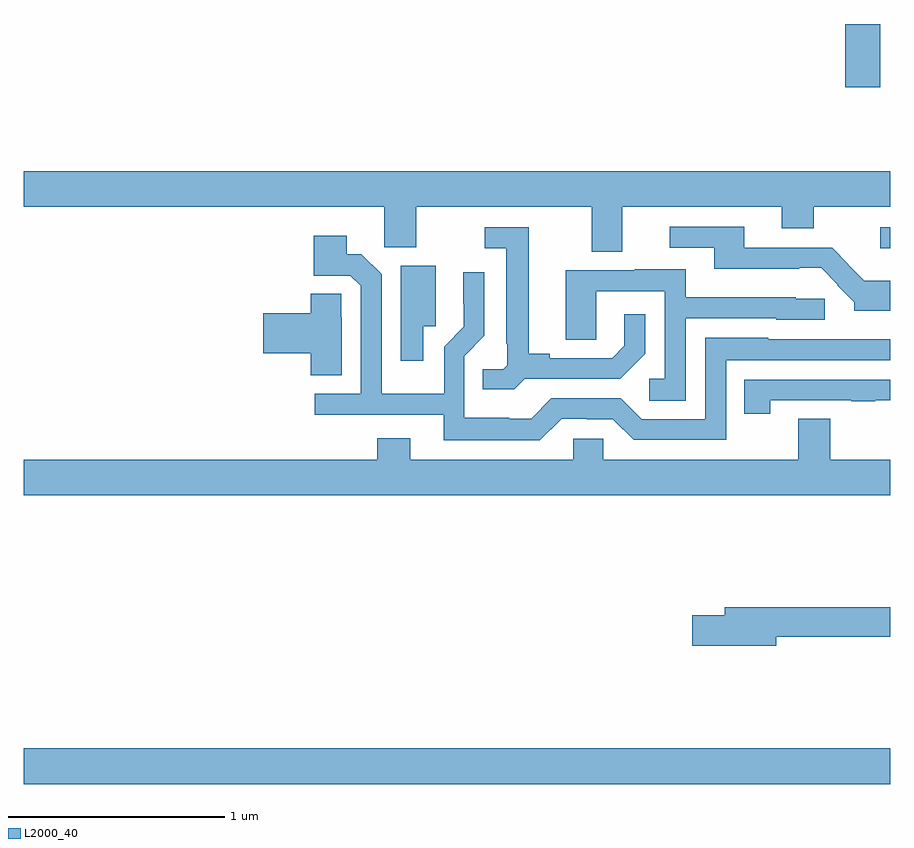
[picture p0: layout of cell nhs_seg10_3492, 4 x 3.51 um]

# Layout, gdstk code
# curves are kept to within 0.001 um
import gdstk
lib = gdstk.Library(unit=1e-6, precision=1e-09)
def R(c, l, rs):  # rectangles x0, y0, x1, y1
    for r in rs: c.add(gdstk.rectangle(r[:2], r[2:], *l))
def P(c, l, *ps):  # polygons
    for p in ps: c.add(gdstk.Polygon(p, *l))
L2000_40 = (2000, 40)

nhs_seg10_3492 = lib.new_cell('nhs_seg10_3492')
R(nhs_seg10_3492, L2000_40, [(301,1290.992,305,1291.156), (304.953,1293.464,305,1293.561), (304.793,1294.209,304.953,1294.5)])
P(nhs_seg10_3492, L2000_40, [(303.763,1293.656),(304.499,1293.656),(304.499,1293.557),(304.647,1293.557),(304.647,1293.656),(305,1293.656),(305,1293.82),(301,1293.82),(301,1293.656),(302.664,1293.656),(302.664,1293.469),(302.811,1293.469),(302.811,1293.656),(303.623,1293.656),(303.623,1293.448),(303.763,1293.448)],
  [(305,1293.316),(304.879,1293.316),(304.805,1293.389),(304.807,1293.391),(304.731,1293.468),(304.327,1293.468),(304.327,1293.564),(303.981,1293.564),(303.981,1293.468),(304.187,1293.468),(304.187,1293.371),(304.58,1293.371),(304.58,1293.374),(304.682,1293.374),(304.758,1293.297),(304.755,1293.294),(304.834,1293.216),(304.834,1293.176),(305,1293.176)],
  [(303.312,1292.862),(303.754,1292.862),(303.87,1292.978),(303.87,1293.16),(303.773,1293.16),(303.773,1293.015),(303.716,1292.958),(303.427,1292.958),(303.427,1292.978),(303.331,1292.978),(303.331,1293.561),(303.129,1293.561),(303.129,1293.465),(303.227,1293.465),(303.227,1293.025),(303.231,1293.025),(303.231,1292.925),(303.213,1292.907),(303.118,1292.907),(303.118,1292.815),(303.264,1292.815)],
  [(303.483,1292.679),(303.6,1292.679),(303.6,1292.676),(303.72,1292.676),(303.816,1292.58),(304.242,1292.58),(304.242,1292.949),(305,1292.949),(305,1293.046),(304.437,1293.045),(304.437,1293.052),(304.146,1293.052),(304.146,1292.676),(303.852,1292.676),(303.756,1292.772),(303.435,1292.772),(303.342,1292.679),(303.242,1292.679),(303.242,1292.683),(303.033,1292.683),(303.033,1292.967),(303.126,1293.06),(303.126,1293.355),(303.03,1293.355),(303.03,1293.208),(303.032,1293.208),(303.032,1293.102),(302.94,1293.01),(302.94,1292.794),(302.652,1292.794),(302.652,1293.345),(302.559,1293.438),(302.491,1293.438),(302.491,1293.523),(302.339,1293.523),(302.339,1293.339),(302.508,1293.339),(302.556,1293.291),(302.556,1292.793),(302.343,1292.793),(302.343,1292.697),(302.939,1292.697),(302.939,1292.579),(303.383,1292.579)],
  [(302.845,1293.105),(302.902,1293.105),(302.902,1293.384),(302.741,1293.384),(302.741,1292.946),(302.845,1292.946)],
  [(304.056,1293.141),(304.473,1293.141),(304.473,1293.135),(304.698,1293.135),(304.698,1293.231),(304.563,1293.231),(304.563,1293.238),(304.057,1293.238),(304.057,1293.367),(303.821,1293.367),(303.821,1293.363),(303.503,1293.363),(303.503,1293.043),(303.642,1293.043),(303.642,1293.267),(303.96,1293.267),(303.96,1292.862),(303.888,1292.862),(303.888,1292.761),(304.056,1292.761)],
  [(302.467,1293.146),(302.466,1293.146),(302.466,1293.254),(302.324,1293.254),(302.324,1293.164),(302.106,1293.164),(302.106,1292.981),(302.324,1292.981),(302.324,1292.878),(302.467,1292.878)],
  [(304.446,1292.763),(304.819,1292.763),(304.819,1292.758),(304.931,1292.758),(304.931,1292.763),(305,1292.763),(305,1292.859),(304.327,1292.859),(304.327,1292.7),(304.446,1292.7)],
  [(305,1292.488),(304.723,1292.488),(304.723,1292.678),(304.576,1292.678),(304.576,1292.488),(303.675,1292.488),(303.675,1292.586),(303.537,1292.586),(303.537,1292.488),(302.785,1292.488),(302.785,1292.587),(302.633,1292.587),(302.633,1292.488),(301,1292.488),(301,1292.324),(305,1292.324)],
  [(304.474,1291.672),(305,1291.672),(305,1291.808),(304.235,1291.808),(304.235,1291.772),(304.086,1291.772),(304.086,1291.63),(304.474,1291.63)])

lib.write_gds('nhs_seg10_3492.gds')
